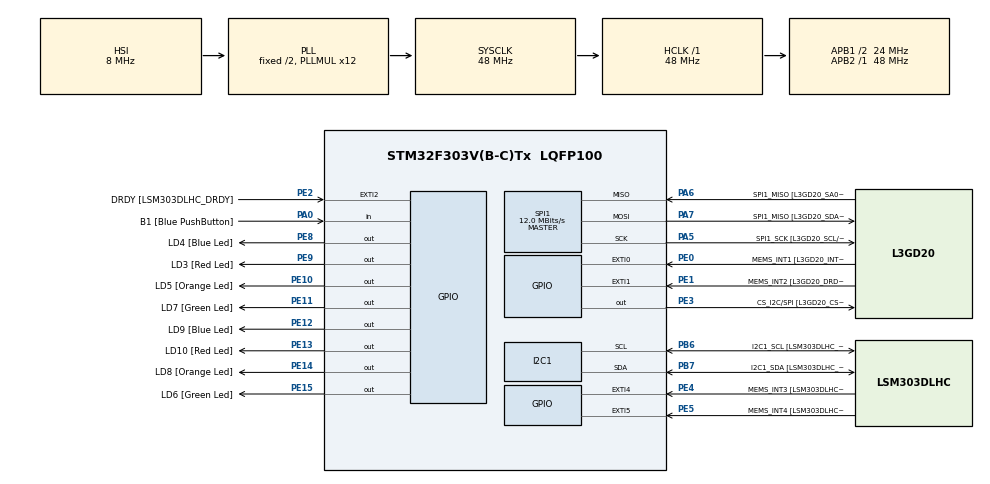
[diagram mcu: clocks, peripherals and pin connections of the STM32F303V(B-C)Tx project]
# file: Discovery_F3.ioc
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I2C1.Timing-I2C=0x2000090E
Mcu.Family=STM32F3
Mcu.Name=STM32F303V(B-C)Tx
Mcu.Package=LQFP100
NVIC.PriorityGroup=NVIC_PRIORITYGROUP_0
PA0.GPIO_Label=B1 [Blue PushButton]
PA0.Signal=GPIO_Input
PA11.GPIO_Label=DM
PA11.Signal=USB_DM
PA12.GPIO_Label=DP
PA12.Signal=USB_DP
PA13.GPIO_Label=SWDIO
PA13.Mode=Serial_Wire
PA13.Signal=SYS_JTMS-SWDIO
PA14.GPIO_Label=SWCLK
PA14.Mode=Serial_Wire
PA14.Signal=SYS_JTCK-SWCLK
PA5.GPIO_Label=SPI1_SCK [L3GD20_SCL/SPC]
PA5.Mode=Full_Duplex_Master
PA5.Signal=SPI1_SCK
PA6.GPIO_Label=SPI1_MISO [L3GD20_SA0/SDO]
PA6.Mode=Full_Duplex_Master
PA6.Signal=SPI1_MISO
PA7.GPIO_Label=SPI1_MISO [L3GD20_SDA/SDI/SDO]
PA7.Mode=Full_Duplex_Master
PA7.Signal=SPI1_MOSI
PB3.GPIO_Label=SWO
PB3.Signal=SYS_JTDO-TRACESWO
PB6.GPIO_Label=I2C1_SCL [LSM303DLHC_SCL]
PB6.GPIO_Pu=GPIO_PULLUP
PB6.Mode=I2C
PB6.Signal=I2C1_SCL
PB7.GPIO_Label=I2C1_SDA [LSM303DLHC_SDA]
PB7.GPIO_Pu=GPIO_PULLUP
PB7.Mode=I2C
PB7.Signal=I2C1_SDA
PC14-OSC32_IN.GPIO_Label=OSC32_IN
PC14-OSC32_IN.Signal=RCC_OSC32_IN
PC15-OSC32_OUT.GPIO_Label=OSC32_OUT
PC15-OSC32_OUT.Signal=RCC_OSC32_OUT
PE0.GPIO_Label=MEMS_INT1 [L3GD20_INT1]
PE0.GPIO_ModeDefaultEXTI=GPIO_MODE_EVT_RISING
PE0.Signal=GPXTI0
PE1.GPIO_Label=MEMS_INT2 [L3GD20_DRDY/INT2]
PE1.GPIO_ModeDefaultEXTI=GPIO_MODE_EVT_RISING
PE1.Signal=GPXTI1
PE10.GPIO_Label=LD5 [Orange Led]
PE10.Signal=GPIO_Output
PE11.GPIO_Label=LD7 [Green Led]
PE11.Signal=GPIO_Output
PE12.GPIO_Label=LD9 [Blue Led]
PE12.Signal=GPIO_Output
PE13.GPIO_Label=LD10 [Red Led]
PE13.Signal=GPIO_Output
PE14.GPIO_Label=LD8 [Orange Led]
PE14.Signal=GPIO_Output
PE15.GPIO_Label=LD6 [Green Led]
PE15.Signal=GPIO_Output
PE2.GPIO_Label=DRDY [LSM303DLHC_DRDY]
PE2.GPIO_ModeDefaultEXTI=GPIO_MODE_EVT_RISING
PE2.Signal=GPXTI2
PE3.GPIO_Label=CS_I2C/SPI [L3GD20_CS_I2C/SPI]
PE3.Signal=GPIO_Output
PE4.GPIO_Label=MEMS_INT3 [LSM303DLHC_INT1]
PE4.GPIO_ModeDefaultEXTI=GPIO_MODE_EVT_RISING
PE4.Signal=GPXTI4
PE5.GPIO_Label=MEMS_INT4 [LSM303DLHC_INT2]
PE5.GPIO_ModeDefaultEXTI=GPIO_MODE_EVT_RISING
PE5.Signal=GPXTI5
PE8.GPIO_Label=LD4 [Blue Led]
PE8.Signal=GPIO_Output
PE9.GPIO_Label=LD3 [Red Led]
PE9.Signal=GPIO_Output
PF0-OSC_IN.GPIO_Label=OSC_IN
PF0-OSC_IN.Mode=HSE-External-Clock-Source
PF0-OSC_IN.Signal=RCC_OSC_IN
PF1-OSC_OUT.GPIO_Label=OSC_OUT
PF1-OSC_OUT.Signal=RCC_OSC_OUT
ProjectManager.HeapSize=0x200
ProjectManager.StackSize=0x400
ProjectManager.TargetToolchain=STM32CubeIDE
RCC.AHBFreq_Value=48000000
RCC.APB1CLKDivider=RCC_HCLK_DIV2
RCC.APB1Freq_Value=24000000
RCC.APB1TimFreq_Value=48000000
RCC.APB2Freq_Value=48000000
RCC.APB2TimFreq_Value=48000000
RCC.CortexFreq_Value=48000000
RCC.HCLKFreq_Value=48000000
RCC.HSE_VALUE=8000000
RCC.HSI_VALUE=8000000
RCC.LSE_VALUE=32768
RCC.PLLMUL=RCC_PLL_MUL12
RCC.SYSCLKFreq_VALUE=48000000
RCC.SYSCLKSourceVirtual=RCC_SYSCLKSOURCE_PLLCLK
RCC.USBFreq_Value=48000000
SPI1.BaudRatePrescaler=SPI_BAUDRATEPRESCALER_4
SPI1.BaudRatePrescaler-Full_Duplex_Master=SPI_BAUDRATEPRESCALER_2
SPI1.CalculateBaudRate=12.0 MBits/s
SPI1.CalculateBaudRate-Full_Duplex_Master=24.0 MBits/s
SPI1.Direction=SPI_DIRECTION_2LINES
SPI1.Mode=SPI_MODE_MASTER
SPI1.Mode-Full_Duplex_Master=SPI_MODE_MASTER
SPI1.VirtualType=VM_MASTER
TIM1.Prescaler=47
TIM6.Period=0xffff-1
TIM6.Prescaler=47
VP_TIM1_VS_ClockSourceINT.Mode=Internal
VP_TIM6_VS_ClockSourceINT.Mode=Enable_Timer
board=STM32F3DISCOVERY

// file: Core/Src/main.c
/* USER CODE BEGIN Header */
/**
  ******************************************************************************
  * @file           : main.c
  * @brief          : Main program body
  ******************************************************************************
  * @attention
  *
  * Copyright (c) 2023 STMicroelectronics.
  * All rights reserved.
  *
  * This software is licensed under terms that can be found in the LICENSE file
  * in the root directory of this software component.
  * If no LICENSE file comes with this software, it is provided AS-IS.
  *
  ******************************************************************************
  */
/* USER CODE END Header */
#include "main.h"

/* USER CODE BEGIN Includes */
#include "stdio.h"
/* USER CODE END Includes */

I2C_HandleTypeDef hi2c1;

SPI_HandleTypeDef hspi1;

TIM_HandleTypeDef htim1;
TIM_HandleTypeDef htim6;

void SystemClock_Config(void);
static void MX_GPIO_Init(void);
static void MX_I2C1_Init(void);
static void MX_SPI1_Init(void);
static void MX_TIM6_Init(void);
static void MX_TIM1_Init(void);

/* USER CODE BEGIN 0 */
void delay (uint16_t time)
{
	__HAL_TIM_SET_COUNTER(&htim1,0);
	while (__HAL_TIM_GET_COUNTER(&htim1)<time);
}

#define DHT22_PORT GPIOA
#define DHT22_PIN GPIO_PIN_4

uint8_t RH1,RH2,TC1,TC2,CHECK;
uint16_t SUM;
uint8_t Presence;
float tCelsius = 0;
float tFahrenheit =0;
float RH=0, TEMP=0;

void SET_PIN_OUTPUT (GPIO_TypeDef *GPIOx, uint16_t GPIO_Pin)

{
		GPIO_InitTypeDef GPIO_InitStruct = {0};
		GPIO_InitStruct.Pin = GPIO_Pin;
		GPIO_InitStruct.Mode = GPIO_MODE_OUTPUT_PP;
		GPIO_InitStruct.Speed = GPIO_SPEED_FREQ_LOW;
		HAL_GPIO_Init(GPIOx, &GPIO_InitStruct);

}

void SET_PIN_INPUT (GPIO_TypeDef *GPIOx, uint16_t GPIO_Pin)

{
		GPIO_InitTypeDef GPIO_InitStruct = {0};
		GPIO_InitStruct.Pin = GPIO_Pin;
		GPIO_InitStruct.Mode = GPIO_MODE_INPUT;
		GPIO_InitStruct.Pull = GPIO_NOPULL; //GPIO_PULLUP
		HAL_GPIO_Init(GPIOx, &GPIO_InitStruct);

}

void DHT22_Start (void)
{
	SET_PIN_OUTPUT (DHT22_PORT, DHT22_PIN);
	HAL_GPIO_WritePin(DHT22_PORT, DHT22_PIN, 0); // pull the pin low
	delay(2000);
	HAL_GPIO_WritePin(DHT22_PORT, DHT22_PIN, 1);
	delay(22); //////////////////////////////////////////////////////////////////////////// in us
	SET_PIN_INPUT(DHT22_PORT, DHT22_PIN);

}

uint16_t DHT22_Check_response(void)
{
	uint8_t Response =0;
	delay(40);///////////////////////////////////////////////////
	if (!HAL_GPIO_ReadPin(DHT22_PORT, DHT22_PIN))
	{
		delay(80);//////////////////////////////////////////////////////
		if (HAL_GPIO_ReadPin(DHT22_PORT, DHT22_PIN)) Response =1;
		else Response = -1;

		while (HAL_GPIO_ReadPin(DHT22_PORT, DHT22_PIN)); // waiting for the pin to go low

	}
	return Response;
}

uint8_t DHT22_Read (void)
{
	uint8_t i,j;
	for (j=0; j<8; j++)
	{
		while (!HAL_GPIO_ReadPin(DHT22_PORT, DHT22_PIN)) //wait for the pin to go high
		{}
			delay(40);//////////////////////////////////////////////////
			if (!HAL_GPIO_ReadPin(DHT22_PORT, DHT22_PIN)) // if the pin is low
			{
				i&= ~(1<<(7-j)); //write 0

			}
			else i|= (1<<(7-j)); // if the pin is high write 1
					while (HAL_GPIO_ReadPin(DHT22_PORT, DHT22_PIN)); //wait for the pin to go low

	}
	return i;
}

/* USER CODE END 0 */

int main(void)
{

  /* MCU Configuration--------------------------------------------------------*/

  /* Reset of all peripherals, Initializes the Flash interface and the Systick. */
  HAL_Init();

  /* Configure the system clock */
  SystemClock_Config();

  /* Initialize all configured peripherals */
  MX_GPIO_Init();
  MX_I2C1_Init();
  MX_SPI1_Init();
  MX_TIM6_Init();
  MX_TIM1_Init();
  /* USER CODE BEGIN 2 */
HAL_TIM_Base_Start(&htim6);
HAL_TIM_Base_Start(&htim1);
  /* USER CODE END 2 */

  /* Infinite loop */
  /* USER CODE BEGIN WHILE */

while (1)
  {

	  DHT22_Start();
	 	  Presence = DHT22_Check_response();

	 	  if (Presence)
	 	  {

	 	  RH1 = DHT22_Read();
	 	  RH2 = DHT22_Read();
	 	  TC1 = DHT22_Read();
	 	  TC2 = DHT22_Read();
	 	  SUM = DHT22_Read();

	 	  tCelsius = (float) TC1;
	 	  RH = (float) RH1;

	 	 if (SUM == ((RH1+RH2+TC1+TC2) & 0x00FF))
	 	 {
	 	 TEMP = ((TC1<<8)|TC2)*0.1f;
	 	 RH = ((RH1<<8)|RH2)*0.1f; }
	 	  }

	 	  HAL_Delay(200);

    /* USER CODE END WHILE */

  }
}

void SystemClock_Config(void)
{
  RCC_OscInitTypeDef RCC_OscInitStruct = {0};
  RCC_ClkInitTypeDef RCC_ClkInitStruct = {0};
  RCC_PeriphCLKInitTypeDef PeriphClkInit = {0};

  /** Initializes the RCC Oscillators according to the specified parameters
  * in the RCC_OscInitTypeDef structure.
  */
  RCC_OscInitStruct.OscillatorType = RCC_OSCILLATORTYPE_HSI;
  RCC_OscInitStruct.HSIState = RCC_HSI_ON;
  RCC_OscInitStruct.HSICalibrationValue = RCC_HSICALIBRATION_DEFAULT;
  RCC_OscInitStruct.PLL.PLLState = RCC_PLL_ON;
  RCC_OscInitStruct.PLL.PLLSource = RCC_PLLSOURCE_HSI;
  RCC_OscInitStruct.PLL.PLLMUL = RCC_PLL_MUL12;
  if (HAL_RCC_OscConfig(&RCC_OscInitStruct) != HAL_OK)
  {
    Error_Handler();
  }

  /** Initializes the CPU, AHB and APB buses clocks
  */
  RCC_ClkInitStruct.ClockType = RCC_CLOCKTYPE_HCLK|RCC_CLOCKTYPE_SYSCLK
                              |RCC_CLOCKTYPE_PCLK1|RCC_CLOCKTYPE_PCLK2;
  RCC_ClkInitStruct.SYSCLKSource = RCC_SYSCLKSOURCE_PLLCLK;
  RCC_ClkInitStruct.AHBCLKDivider = RCC_SYSCLK_DIV1;
  RCC_ClkInitStruct.APB1CLKDivider = RCC_HCLK_DIV2;
  RCC_ClkInitStruct.APB2CLKDivider = RCC_HCLK_DIV1;

  if (HAL_RCC_ClockConfig(&RCC_ClkInitStruct, FLASH_LATENCY_1) != HAL_OK)
  {
    Error_Handler();
  }
  PeriphClkInit.PeriphClockSelection = RCC_PERIPHCLK_I2C1|RCC_PERIPHCLK_TIM1;
  PeriphClkInit.I2c1ClockSelection = RCC_I2C1CLKSOURCE_HSI;
  PeriphClkInit.Tim1ClockSelection = RCC_TIM1CLK_HCLK;
  if (HAL_RCCEx_PeriphCLKConfig(&PeriphClkInit) != HAL_OK)
  {
    Error_Handler();
  }
}

static void MX_I2C1_Init(void)
{

  hi2c1.Instance = I2C1;
  hi2c1.Init.Timing = 0x2000090E;
  hi2c1.Init.OwnAddress1 = 0;
  hi2c1.Init.AddressingMode = I2C_ADDRESSINGMODE_7BIT;
  hi2c1.Init.DualAddressMode = I2C_DUALADDRESS_DISABLE;
  hi2c1.Init.OwnAddress2 = 0;
  hi2c1.Init.OwnAddress2Masks = I2C_OA2_NOMASK;
  hi2c1.Init.GeneralCallMode = I2C_GENERALCALL_DISABLE;
  hi2c1.Init.NoStretchMode = I2C_NOSTRETCH_DISABLE;
  if (HAL_I2C_Init(&hi2c1) != HAL_OK)
  {
    Error_Handler();
  }

  /** Configure Analogue filter
  */
  if (HAL_I2CEx_ConfigAnalogFilter(&hi2c1, I2C_ANALOGFILTER_ENABLE) != HAL_OK)
  {
    Error_Handler();
  }

  /** Configure Digital filter
  */
  if (HAL_I2CEx_ConfigDigitalFilter(&hi2c1, 0) != HAL_OK)
  {
    Error_Handler();
  }

}

static void MX_SPI1_Init(void)
{

  /* SPI1 parameter configuration*/
  hspi1.Instance = SPI1;
  hspi1.Init.Mode = SPI_MODE_MASTER;
  hspi1.Init.Direction = SPI_DIRECTION_2LINES;
  hspi1.Init.DataSize = SPI_DATASIZE_4BIT;
  hspi1.Init.CLKPolarity = SPI_POLARITY_LOW;
  hspi1.Init.CLKPhase = SPI_PHASE_1EDGE;
  hspi1.Init.NSS = SPI_NSS_SOFT;
  hspi1.Init.BaudRatePrescaler = SPI_BAUDRATEPRESCALER_4;
  hspi1.Init.FirstBit = SPI_FIRSTBIT_MSB;
  hspi1.Init.TIMode = SPI_TIMODE_DISABLE;
  hspi1.Init.CRCCalculation = SPI_CRCCALCULATION_DISABLE;
  hspi1.Init.CRCPolynomial = 7;
  hspi1.Init.CRCLength = SPI_CRC_LENGTH_DATASIZE;
  hspi1.Init.NSSPMode = SPI_NSS_PULSE_ENABLE;
  if (HAL_SPI_Init(&hspi1) != HAL_OK)
  {
    Error_Handler();
  }

}

static void MX_TIM1_Init(void)
{

  TIM_ClockConfigTypeDef sClockSourceConfig = {0};
  TIM_MasterConfigTypeDef sMasterConfig = {0};

  htim1.Instance = TIM1;
  htim1.Init.Prescaler = 47;
  htim1.Init.CounterMode = TIM_COUNTERMODE_UP;
  htim1.Init.Period = 65535;
  htim1.Init.ClockDivision = TIM_CLOCKDIVISION_DIV1;
  htim1.Init.RepetitionCounter = 0;
  htim1.Init.AutoReloadPreload = TIM_AUTORELOAD_PRELOAD_DISABLE;
  if (HAL_TIM_Base_Init(&htim1) != HAL_OK)
  {
    Error_Handler();
  }
  sClockSourceConfig.ClockSource = TIM_CLOCKSOURCE_INTERNAL;
  if (HAL_TIM_ConfigClockSource(&htim1, &sClockSourceConfig) != HAL_OK)
  {
    Error_Handler();
  }
  sMasterConfig.MasterOutputTrigger = TIM_TRGO_RESET;
  sMasterConfig.MasterOutputTrigger2 = TIM_TRGO2_RESET;
  sMasterConfig.MasterSlaveMode = TIM_MASTERSLAVEMODE_DISABLE;
  if (HAL_TIMEx_MasterConfigSynchronization(&htim1, &sMasterConfig) != HAL_OK)
  {
    Error_Handler();
  }

}

static void MX_TIM6_Init(void)
{

  TIM_MasterConfigTypeDef sMasterConfig = {0};

  htim6.Instance = TIM6;
  htim6.Init.Prescaler = 47;
  htim6.Init.CounterMode = TIM_COUNTERMODE_UP;
  htim6.Init.Period = 0xffff-1;
  htim6.Init.AutoReloadPreload = TIM_AUTORELOAD_PRELOAD_DISABLE;
  if (HAL_TIM_Base_Init(&htim6) != HAL_OK)
  {
    Error_Handler();
  }
  sMasterConfig.MasterOutputTrigger = TIM_TRGO_RESET;
  sMasterConfig.MasterSlaveMode = TIM_MASTERSLAVEMODE_DISABLE;
  if (HAL_TIMEx_MasterConfigSynchronization(&htim6, &sMasterConfig) != HAL_OK)
  {
    Error_Handler();
  }

}

static void MX_GPIO_Init(void)
{
  GPIO_InitTypeDef GPIO_InitStruct = {0};

  /* GPIO Ports Clock Enable */
  __HAL_RCC_GPIOE_CLK_ENABLE();
  __HAL_RCC_GPIOC_CLK_ENABLE();
  __HAL_RCC_GPIOF_CLK_ENABLE();
  __HAL_RCC_GPIOA_CLK_ENABLE();
  __HAL_RCC_GPIOB_CLK_ENABLE();

  /*Configure GPIO pin Output Level */
  HAL_GPIO_WritePin(GPIOE, CS_I2C_SPI_Pin|LD4_Pin|LD3_Pin|LD5_Pin
                          |LD7_Pin|LD9_Pin|LD10_Pin|LD8_Pin
                          |LD6_Pin, GPIO_PIN_RESET);

  /*Configure GPIO pins : DRDY_Pin MEMS_INT3_Pin MEMS_INT4_Pin MEMS_INT1_Pin
                           MEMS_INT2_Pin */
  GPIO_InitStruct.Pin = DRDY_Pin|MEMS_INT3_Pin|MEMS_INT4_Pin|MEMS_INT1_Pin
                          |MEMS_INT2_Pin;
  GPIO_InitStruct.Mode = GPIO_MODE_EVT_RISING;
  GPIO_InitStruct.Pull = GPIO_NOPULL;
  HAL_GPIO_Init(GPIOE, &GPIO_InitStruct);

  /*Configure GPIO pins : CS_I2C_SPI_Pin LD4_Pin LD3_Pin LD5_Pin
                           LD7_Pin LD9_Pin LD10_Pin LD8_Pin
                           LD6_Pin */
  GPIO_InitStruct.Pin = CS_I2C_SPI_Pin|LD4_Pin|LD3_Pin|LD5_Pin
                          |LD7_Pin|LD9_Pin|LD10_Pin|LD8_Pin
                          |LD6_Pin;
  GPIO_InitStruct.Mode = GPIO_MODE_OUTPUT_PP;
  GPIO_InitStruct.Pull = GPIO_NOPULL;
  GPIO_InitStruct.Speed = GPIO_SPEED_FREQ_LOW;
  HAL_GPIO_Init(GPIOE, &GPIO_InitStruct);

  /*Configure GPIO pin : B1_Pin */
  GPIO_InitStruct.Pin = B1_Pin;
  GPIO_InitStruct.Mode = GPIO_MODE_INPUT;
  GPIO_InitStruct.Pull = GPIO_NOPULL;
  HAL_GPIO_Init(B1_GPIO_Port, &GPIO_InitStruct);

  /*Configure GPIO pins : DM_Pin DP_Pin */
  GPIO_InitStruct.Pin = DM_Pin|DP_Pin;
  GPIO_InitStruct.Mode = GPIO_MODE_AF_PP;
  GPIO_InitStruct.Pull = GPIO_NOPULL;
  GPIO_InitStruct.Speed = GPIO_SPEED_FREQ_HIGH;
  GPIO_InitStruct.Alternate = GPIO_AF14_USB;
  HAL_GPIO_Init(GPIOA, &GPIO_InitStruct);

}

void Error_Handler(void)
{
  __disable_irq();
  while (1)
  {
  }
}
